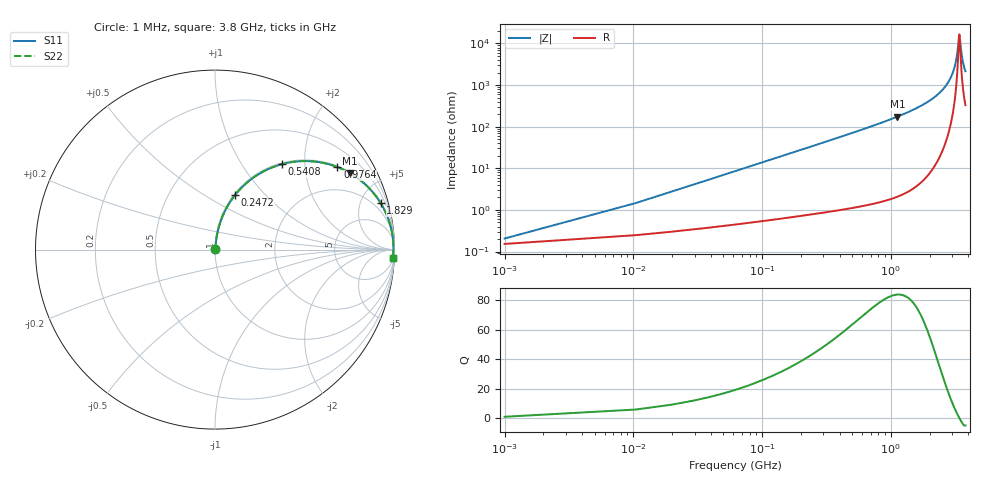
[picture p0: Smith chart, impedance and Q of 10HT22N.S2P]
! Coilcraft 1008HT-22N Chip Inductor
! 16 July 2002
# MHZ S MA R 50
!Freq  MagS11  AngS11  MagS21  AngS21  MagS12  AngS12  MagS22  AngS22
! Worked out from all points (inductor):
!   403 points, 1 MHz to 3.8 GHz, reference 50 ohm
!   read as one part in series: L = 22 nH near 19.94 MHz
!   highest Q = 84 at 1.128 GHz (marker M1), where L = 24.7 nH
!   self-resonance near 3.41 GHz
!   S11 on the Smith chart (normalised r, x): 1 MHz: 1.00, +0.00; 247.2 MHz: 1.02, +0.69; 540.8 MHz: 1.02, +1.53; 976.4 MHz: 1.04, +2.94; 1.829 GHz: 1.11, +7.09; 3.8 GHz: 8, -43
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1  0.002057 42.1  0.9985 -0.1  0.9985 -0.1  0.002057 42.1
29.41  0.04063 82.9  0.9958 -2.3  0.9958 -2.3  0.04063 82.9
57.82  0.07947 82.3  0.9925 -4.6  0.9925 -4.6  0.07947 82.3
86.23  0.1179 80.8  0.988 -6.8  0.988 -6.8  0.1179 80.8
133.58  0.1809 77.7  0.9776 -10.4  0.9776 -10.4  0.1809 77.7
247.22  0.3227 69.9  0.9391 -18.8  0.9391 -18.8  0.3227 69.9
379.8  0.466 61.2  0.8764 -27.8  0.8764 -27.8  0.466 61.2
540.79  0.6041 52.0  0.7878 -37.2  0.7878 -37.2  0.6041 52.0
635.49  0.6684 47.3  0.7344 -41.9  0.7344 -41.9  0.6684 47.3
976.41  0.8223 34.0  0.5592 -55.3  0.5592 -55.3  0.8223 34.0
1127.93  0.8639 29.6  0.4935 -59.8  0.4935 -59.8  0.8639 29.6
1269.98  0.8935 26.0  0.4384 -63.3  0.4384 -63.3  0.8935 26.0
1828.71  0.9586 15.7  0.2702 -73.4  0.2702 -73.4  0.9586 15.7
1904.47  0.9636 14.6  0.2519 -74.5  0.2519 -74.5  0.9636 14.6
2538.96  0.9876 7.2  0.1255 -80.8  0.1255 -80.8  0.9876 7.2
2917.76  0.9928 3.8  0.06622 -81.9  0.06622 -81.9  0.9928 3.8
3173.45  0.994 1.7  0.03096 -78.0  0.03096 -78.0  0.994 1.7
3277.62  0.9941 1.0  0.01778 -70.2  0.01778 -70.2  0.9941 1.0
3381.79  0.994 0.2  0.006991 -31.2  0.006991 -31.2  0.994 0.2
3410.2  0.994 0.0  0.006034 -1.1  0.006034 -1.1  0.994 0.0
3590.13  0.9933 -1.2  0.02249 72.0  0.02249 72.0  0.9933 -1.2
3800  0.9919 -2.6  0.04601 78.6  0.04601 78.6  0.9919 -2.6
